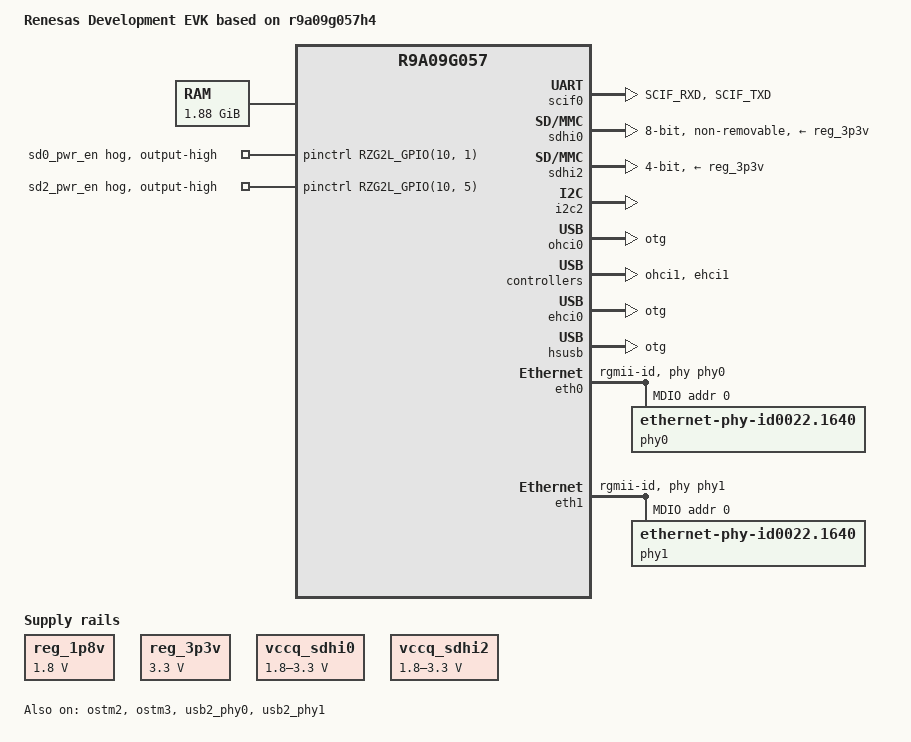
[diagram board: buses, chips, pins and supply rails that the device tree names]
// SPDX-License-Identifier: (GPL-2.0-only OR BSD-2-Clause)
/*
 * Device Tree Source for the RZ/V2H Development EVK board
 *
 * Copyright (C) 2022 Renesas Electronics Corp.
 */

/dts-v1/;
#include "r9a09g057.dtsi"
#include <dt-bindings/pinctrl/rzg2l-pinctrl.h>
#include <dt-bindings/gpio/gpio.h>

/*
 * Jumper setting
 *
 * Please change the jumper setting corresponding to below Macros:
 *
 * SW2 (SEL_SD0): 1: eMMC (default);	0: SD
 */
#define SEL_SD0		1

/ {
	model = "Renesas Development EVK based on r9a09g057h4";
	compatible = "renesas,r9a09g057h4-dev", "renesas,r9a09g057h4", "renesas,r9a09g057";

	aliases {
		serial0 = &scif0;
		mmc0 = &sdhi0;
		mmc1 = &sdhi1;
		mmc2 = &sdhi2;
		ethernet0 = &eth0;
		ethernet1 = &eth1;
	};

	chosen {
		bootargs = "ignore_loglevel";
		stdout-path = "serial0:115200n8";
	};

	memory@48000000 {
		device_type = "memory";
		/* first 128MB is reserved for secure area. */
		reg = <0x0 0x48000000 0x0 0x78000000>;
	};

	reserved-memory {
		#address-cells = <2>;
		#size-cells = <2>;
		ranges;

		global_cma: linux,cma@58000000 {
			compatible = "shared-dma-pool";
			linux,cma-default;
			reusable;
			reg = <0x0 0x58000000 0x0 0x10000000>;
		};

		drp_reserved: DRP-AI@80000000 {
			reusable;
			reg = <0x0 0x80000000 0x0 0x20000000>;
		};

		image_buf0: image_buf@B0000000 {
			compatible = "shared-dma-pool";
			reusable;
			reg = <0x0 0xB0000000 0x0 0x4000000>;
			label = "image_buf0";
		};
	};

	reg_1p8v: regulator0 {
		compatible = "regulator-fixed";

		regulator-name = "fixed-1.8V";
		regulator-min-microvolt = <1800000>;
		regulator-max-microvolt = <1800000>;
		regulator-boot-on;
		regulator-always-on;
	};

	reg_3p3v: regulator1 {
		compatible = "regulator-fixed";

		regulator-name = "fixed-3.3V";
		regulator-min-microvolt = <3300000>;
		regulator-max-microvolt = <3300000>;
		regulator-boot-on;
		regulator-always-on;
	};

	vccq_sdhi0: regulator-vccq-sdhi0 {
		compatible = "regulator-gpio";

		regulator-name = "SDHI0 VccQ";
		regulator-min-microvolt = <1800000>;
		regulator-max-microvolt = <3300000>;

		gpios = <&pinctrl RZG2L_GPIO(10, 0) GPIO_ACTIVE_HIGH>;

		gpios-states = <1>;
		states = <3300000 0 1800000 1>;
	};

	vccq_sdhi2: regulator-vccq-sdhi2 {
		compatible = "regulator-gpio";

		regulator-name = "SDHI2 VccQ";
		regulator-min-microvolt = <1800000>;
		regulator-max-microvolt = <3300000>;

		gpios = <&pinctrl RZG2L_GPIO(10, 4) GPIO_ACTIVE_HIGH>;

		gpios-states = <1>;
		states = <3300000 0 1800000 1>;
	};
};

&pinctrl {
	scif0_pins: scif0 {
		pins =  "SCIF_RXD", "SCIF_TXD";
	};

	sd0_pwr_en {
		gpio-hog;
		gpios = <RZG2L_GPIO(10, 1) GPIO_ACTIVE_HIGH>;
		output-high;
		line-name = "sd0_pwr_en";
	};

	sd2_pwr_en {
		gpio-hog;
		gpios = <RZG2L_GPIO(10, 5) GPIO_ACTIVE_HIGH>;
		output-high;
		line-name = "sd2_pwr_en";
	};

	i2c2_pins: i2c2 {
		pinmux = <RZG2L_PORT_PINMUX(2, 0, 4)>, /* SDA */
			 <RZG2L_PORT_PINMUX(2, 1, 4)>; /* SCL */
	};

	usb20_pins: usb20 {
		pinmux = <RZG2L_PORT_PINMUX(6, 0, 15)>, /* VBUS */
			 <RZG2L_PORT_PINMUX(6, 1, 15)>; /* OVC */
	};

	usb21_pins: usb21 {
		pinmux = <RZG2L_PORT_PINMUX(6, 2, 15)>, /* VBUS */
			 <RZG2L_PORT_PINMUX(6, 3, 15)>; /* OVC */
	};

#if (!SEL_SD0)
        /* Support pinctrl for SD function of SDHI0 */
        sdhi0_pins: sd0 {
		sd0_mux {
			pinmux = <RZG2L_PORT_PINMUX(9, 4, 15)>; /* SD0_CD */
		};
	};
#endif

	sdhi2_pins: sd2 {
		sd2_data {
			pinmux = <RZG2L_PORT_PINMUX(11, 1, 1)>, /* SD2_DATA0 */
				 <RZG2L_PORT_PINMUX(11, 2, 1)>, /* SD2_DATA1 */
				 <RZG2L_PORT_PINMUX(11, 3, 1)>, /* SD2_DATA2 */
				 <RZG2L_PORT_PINMUX(11, 4, 1)>; /* SD2_DATA3 */
		};

		sd2_ctrl {
			pinmux = <RZG2L_PORT_PINMUX(11, 0, 1)>, /* SD2_CLK */
				 <RZG2L_PORT_PINMUX(11, 5, 1)>; /* SD2_CMD */
		};

		sd2_mux {
			pinmux = <RZG2L_PORT_PINMUX(10, 3, 15)>; /* SD2_CD */
		};
	};
};

&extal_clk {
	clock-frequency = <24000000>;
};

&ostm2 {
	status = "okay";
};

&ostm3 {
	status = "okay";
};

&scif0 {
	pinctrl-0 = <&scif0_pins>;
	pinctrl-names = "default";

	status = "okay";
};

#if (SEL_SD0)
&sdhi0 {
	vmmc-supply = <&reg_3p3v>;
	vqmmc-supply = <&reg_1p8v>;
	bus-width = <8>;
	mmc-hs200-1_8v;
	non-removable;
	fixed-emmc-driver-type = <1>;
	status = "okay";
};
#else
&sdhi0 {
	pinctrl-0 = <&sdhi0_pins>;
	pinctrl-names = "default";

	vmmc-supply = <&reg_3p3v>;
	vqmmc-supply = <&vccq_sdhi0>;

	bus-width = <4>;
	sd-uhs-sdr50;
	status = "okay";
};
#endif

&sdhi2 {
	pinctrl-0 = <&sdhi2_pins>;
	pinctrl-names = "default";

	vmmc-supply = <&reg_3p3v>;
	vqmmc-supply = <&vccq_sdhi2>;
	bus-width = <4>;
	sd-uhs-sdr50;
	status = "okay";
};

&i2c2 {
	pinctrl-0 = <&i2c2_pins>;
	pinctrl-names = "default";

	status = "okay";
};

&ohci0 {
	dr_mode = "otg";
	status = "okay";
};

&ohci1 {
	status = "okay";
};

&ehci0 {
	dr_mode = "otg";
	status = "okay";
};

&ehci1 {
	status = "okay";
};

&hsusb {
	dr_mode = "otg";
	status = "okay";
};

&usb2_phy0 {
	pinctrl-0 = <&usb20_pins>;
	pinctrl-names = "default";

	status = "okay";
};

&usb2_phy1 {
	pinctrl-0 = <&usb21_pins>;
	pinctrl-names = "default";

	status = "okay";
};

&eth0 {
	phy-handle = <&phy0>;
	phy-mode = "rgmii-id";
	status = "okay";

	mdio {
		#address-cells = <1>;
		#size-cells = <0>;
		phy0: ethernet-phy@0 {
			compatible = "ethernet-phy-id0022.1640",
				     "ethernet-phy-ieee802.3-c22";
			reg = <0>;
			rxc-skew-psec = <1400>;
			txc-skew-psec = <1400>;
			rxdv-skew-psec = <0>;
			txdv-skew-psec = <0>;
			rxd0-skew-psec = <0>;
			rxd1-skew-psec = <0>;
			rxd2-skew-psec = <0>;
			rxd3-skew-psec = <0>;
			txd0-skew-psec = <0>;
			txd1-skew-psec = <0>;
			txd2-skew-psec = <0>;
			txd3-skew-psec = <0>;
		};
	};
};

&eth1 {
	phy-handle = <&phy1>;
	phy-mode = "rgmii-id";
	status = "okay";

	mdio {
		#address-cells = <1>;
		#size-cells = <0>;
		phy1: ethernet-phy@0 {
			compatible = "ethernet-phy-id0022.1640",
				     "ethernet-phy-ieee802.3-c22";
			reg = <0>;
			rxc-skew-psec = <1400>;
			txc-skew-psec = <1400>;
			rxdv-skew-psec = <0>;
			txdv-skew-psec = <0>;
			rxd0-skew-psec = <0>;
			rxd1-skew-psec = <0>;
			rxd2-skew-psec = <0>;
			rxd3-skew-psec = <0>;
			txd0-skew-psec = <0>;
			txd1-skew-psec = <0>;
			txd2-skew-psec = <0>;
			txd3-skew-psec = <0>;
		};
	};
};
